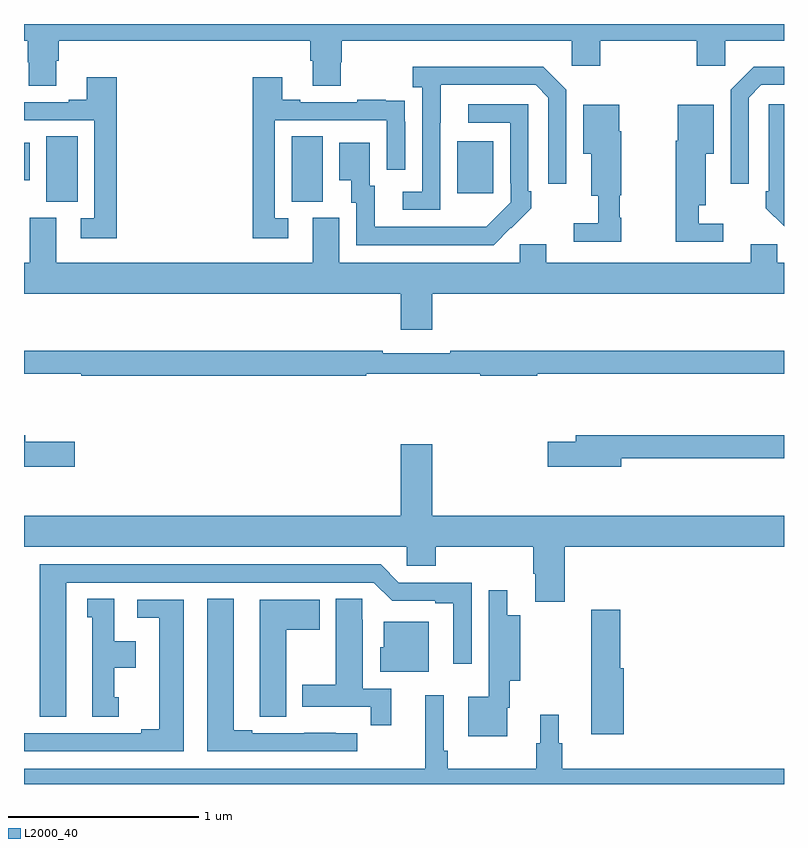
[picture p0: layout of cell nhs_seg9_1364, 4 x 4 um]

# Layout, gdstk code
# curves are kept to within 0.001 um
import gdstk
lib = gdstk.Library(unit=1e-6, precision=1e-09)
def R(c, l, rs):  # rectangles x0, y0, x1, y1
    for r in rs: c.add(gdstk.rectangle(r[:2], r[2:], *l))
def P(c, l, *ps):  # polygons
    for p in ps: c.add(gdstk.Polygon(p, *l))
L2000_40 = (2000, 40)

nhs_seg9_1364 = lib.new_cell('nhs_seg9_1364')
R(nhs_seg9_1364, L2000_40, [(187.118,1203.565,187.282,1203.908), (188.408,1203.565,188.572,1203.908), (189.281,1203.609,189.469,1203.883), (187,1203.677,187.03,1203.874)])
P(nhs_seg9_1364, L2000_40, [(187.171,1204.306),(187.184,1204.306),(187.184,1204.412),(188.507,1204.412),(188.507,1204.306),(188.519,1204.306),(188.519,1204.174),(188.667,1204.174),(188.667,1204.299),(188.672,1204.299),(188.672,1204.412),(189.882,1204.412),(189.882,1204.281),(190.034,1204.281),(190.034,1204.412),(190.541,1204.412),(190.541,1204.281),(190.692,1204.281),(190.692,1204.412),(191,1204.412),(191,1204.5),(187,1204.5),(187,1204.412),(187.019,1204.412),(187.019,1204.299),(187.024,1204.299),(187.024,1204.174),(187.171,1204.174)],
  [(190.815,1204.113),(190.881,1204.179),(191,1204.179),(191,1204.276),(190.84,1204.276),(190.719,1204.155),(190.719,1203.66),(190.815,1203.66)],
  [(189.192,1203.979),(189.193,1204.179),(189.693,1204.179),(189.759,1204.113),(189.759,1203.66),(189.855,1203.66),(189.855,1204.155),(189.734,1204.276),(189.045,1204.276),(189.045,1204.166),(189.096,1204.166),(189.096,1203.618),(188.994,1203.618),(188.994,1203.522),(189.192,1203.522)],
  [(187.487,1204.219),(187.331,1204.219),(187.331,1204.102),(187.235,1204.102),(187.235,1204.089),(187,1204.089),(187,1203.993),(187.371,1203.993),(187.371,1203.477),(187.299,1203.477),(187.299,1203.372),(187.487,1203.372)],
  [(188.392,1203.477),(188.319,1203.477),(188.319,1203.993),(188.91,1203.993),(188.91,1203.732),(189.006,1203.732),(189.006,1203.986),(189.005,1203.986),(189.005,1204.095),(188.903,1204.095),(188.903,1204.102),(188.755,1204.102),(188.755,1204.089),(188.455,1204.089),(188.455,1204.102),(188.359,1204.102),(188.359,1204.219),(188.203,1204.219),(188.203,1203.372),(188.392,1203.372)],
  [(191,1204.077),(190.92,1204.077),(190.92,1203.619),(190.905,1203.619),(190.905,1203.531),(191,1203.436)],
  [(189.563,1203.427),(189.564,1203.426),(189.669,1203.531),(189.669,1203.619),(189.654,1203.619),(189.654,1204.077),(189.339,1204.077),(189.339,1203.981),(189.558,1203.981),(189.558,1203.661),(189.561,1203.661),(189.561,1203.561),(189.433,1203.433),(188.845,1203.432),(188.845,1203.648),(188.821,1203.648),(188.821,1203.874),(188.66,1203.874),(188.66,1203.677),(188.723,1203.677),(188.723,1203.558),(188.748,1203.558),(188.748,1203.336),(189.472,1203.336)],
  [(190.144,1203.479),(190.136,1203.479),(190.136,1203.6),(190.144,1203.6),(190.144,1203.936),(190.132,1203.936),(190.132,1204.075),(189.944,1204.075),(189.944,1203.818),(189.986,1203.818),(189.986,1203.596),(190.023,1203.596),(190.023,1203.451),(189.894,1203.451),(189.894,1203.354),(190.144,1203.354)],
  [(190.681,1203.45),(190.552,1203.45),(190.552,1203.545),(190.588,1203.545),(190.588,1203.818),(190.63,1203.818),(190.63,1204.075),(190.442,1204.075),(190.442,1203.885),(190.43,1203.885),(190.43,1203.354),(190.681,1203.354)],
  [(189.148,1203.08),(191,1203.08),(191,1203.244),(190.965,1203.244),(190.965,1203.342),(190.826,1203.342),(190.826,1203.244),(189.748,1203.244),(189.748,1203.342),(189.609,1203.342),(189.609,1203.244),(188.659,1203.244),(188.659,1203.48),(188.519,1203.48),(188.519,1203.244),(187.171,1203.244),(187.171,1203.48),(187.031,1203.48),(187.031,1203.244),(187,1203.244),(187,1203.08),(188.984,1203.08),(188.984,1202.892),(189.148,1202.892)],
  [(188.8,1202.658),(189.4,1202.658),(189.4,1202.65),(189.7,1202.65),(189.7,1202.658),(191,1202.658),(191,1202.779),(189.244,1202.779),(189.244,1202.766),(188.888,1202.766),(188.888,1202.779),(187,1202.779),(187,1202.658),(187.3,1202.658),(187.3,1202.65),(188.8,1202.65)],
  [(190.144,1202.214),(191,1202.214),(191,1202.335),(189.905,1202.335),(189.905,1202.301),(189.756,1202.301),(189.756,1202.171),(190.144,1202.171)],
  [(187.267,1202.301),(187.006,1202.301),(187.006,1202.335),(187,1202.335),(187,1202.171),(187.267,1202.171)],
  [(189.845,1201.748),(191,1201.748),(191,1201.912),(189.148,1201.912),(189.148,1202.287),(188.984,1202.287),(188.984,1201.912),(187,1201.912),(187,1201.748),(189.015,1201.748),(189.015,1201.65),(189.167,1201.65),(189.167,1201.748),(189.68,1201.748),(189.68,1201.606),(189.692,1201.606),(189.692,1201.458),(189.845,1201.458)],
  [(187.222,1201.56),(188.841,1201.56),(188.937,1201.464),(189.164,1201.464),(189.164,1201.452),(189.26,1201.452),(189.26,1201.134),(189.357,1201.134),(189.357,1201.56),(188.973,1201.56),(188.877,1201.656),(187.082,1201.656),(187.082,1200.855),(187.222,1200.855)],
  [(189.543,1200.902),(189.556,1200.902),(189.556,1201.043),(189.612,1201.043),(189.612,1201.387),(189.544,1201.387),(189.544,1201.519),(189.446,1201.519),(189.446,1201.283),(189.445,1201.283),(189.445,1200.958),(189.338,1200.958),(189.338,1200.752),(189.543,1200.752)],
  [(188.755,1200.768),(188.642,1200.768),(188.642,1200.769),(188.476,1200.769),(188.476,1200.768),(188.2,1200.768),(188.2,1200.783),(188.104,1200.783),(188.104,1201.475),(187.964,1201.475),(187.964,1200.672),(188.755,1200.672)],
  [(187.498,1200.957),(187.474,1200.957),(187.474,1201.112),(187.588,1201.112),(187.588,1201.252),(187.474,1201.252),(187.474,1201.475),(187.334,1201.475),(187.334,1201.377),(187.358,1201.377),(187.358,1200.855),(187.498,1200.855)],
  [(188.933,1201.002),(188.782,1201.002),(188.782,1201.364),(188.781,1201.364),(188.781,1201.475),(188.642,1201.475),(188.642,1201.023),(188.465,1201.023),(188.465,1200.906),(188.824,1200.906),(188.824,1200.81),(188.933,1200.81)],
  [(188.38,1201.312),(188.557,1201.312),(188.557,1201.471),(188.24,1201.471),(188.24,1200.961),(188.241,1200.961),(188.241,1200.853),(188.38,1200.853)],
  [(187.84,1201.47),(187.596,1201.47),(187.596,1201.374),(187.712,1201.374),(187.712,1200.788),(187.616,1200.788),(187.616,1200.768),(187,1200.768),(187,1200.672),(187.84,1200.672)],
  [(190.157,1201.11),(190.139,1201.11),(190.139,1201.417),(189.985,1201.417),(189.985,1201.11),(189.986,1201.11),(189.986,1200.762),(190.157,1200.762)],
  [(189.13,1201.354),(188.894,1201.354),(188.894,1201.221),(188.876,1201.221),(188.876,1201.091),(189.13,1201.091)],
  [(191,1200.58),(189.833,1200.58),(189.833,1200.714),(189.814,1200.714),(189.814,1200.865),(189.716,1200.865),(189.716,1200.714),(189.697,1200.714),(189.697,1200.58),(189.23,1200.58),(189.23,1200.676),(189.21,1200.676),(189.21,1200.967),(189.113,1200.967),(189.113,1200.58),(187,1200.58),(187,1200.5),(191,1200.5)])

lib.write_gds('nhs_seg9_1364.gds')
